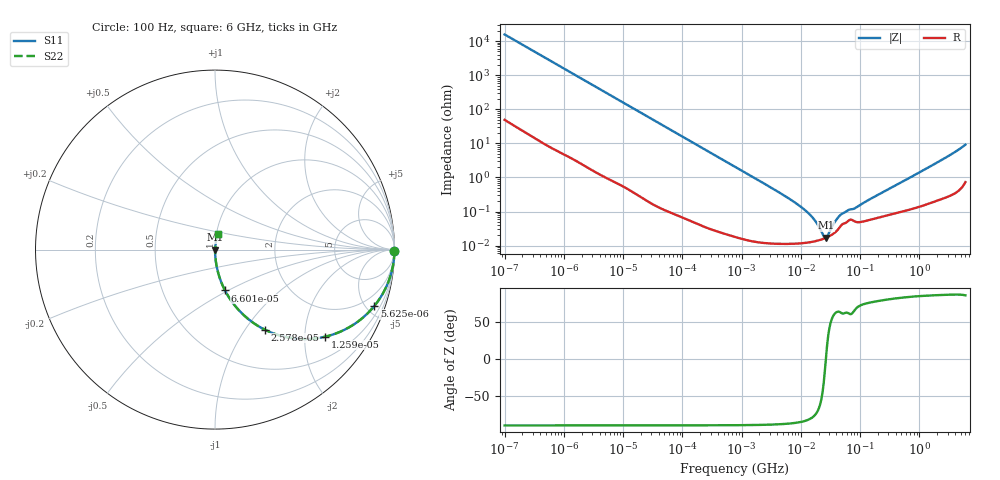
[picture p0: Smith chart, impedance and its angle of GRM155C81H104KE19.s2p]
!Murata Part Number: GRM155C81H104KE19
!These Parameters are Measured in Series Mode Connection
!Data Generated on Mar 30, 2021
!  o--ll--o
!Port1  Port2
!  o------o
!Operation Temp=25[degC], DC Bias Voltage=0[V]
!Freq. Start=100[Hz] Stop=6[GHz] 401[Steps]
# Hz S RI R 50
!Freq.(Hz) S11(Real) S11(Imag) S21(Real) S21(Imag) S12(Real) S12(Imag) S22(Real) S22(Imag)
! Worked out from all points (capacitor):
!   401 points, 100 Hz to 6 GHz, reference 50 ohm
!   read as one part in series: C = 101 nF near 109 Hz
!   lowest |Z| = 17 mohm at 26.62 MHz (marker M1)
!   series resonance near 26.49 MHz, so ESL is about 360 pH
!   S11 on the Smith chart (normalised r, x): 100 Hz: open; 5.625 kHz: 1.02, -5.64; 12.59 kHz: 1.01, -2.52; 25.78 kHz: 1.00, -1.23; 66 kHz: 1.00, -0.48; 6 GHz: 1.01, +0.18
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100  0.9999 -0.00635  6.02e-05 0.00635  6.02e-05 0.00635  0.9999 -0.00635
627  0.9983 -0.0396  0.00169 0.0396  0.00169 0.0396  0.9983 -0.0396
2008  0.9838 -0.1248  0.0162 0.1248  0.0162 0.1248  0.9838 -0.1248
5625  0.8874 -0.3145  0.1126 0.3145  0.1126 0.3145  0.8874 -0.3145
12592  0.6137 -0.4852  0.3863 0.4852  0.3863 0.4852  0.6137 -0.4852
25777  0.2764 -0.4456  0.7236 0.4456  0.7236 0.4456  0.2764 -0.4456
40335  0.1356 -0.3407  0.8644 0.3407  0.8644 0.3407  0.1356 -0.3407
66005  0.0558 -0.2277  0.9442 0.2277  0.9442 0.2277  0.0558 -0.2277
184852  0.00782 -0.0857  0.9922 0.0857  0.9922 0.0857  0.00782 -0.0857
774597  0.000607 -0.0207  0.9994 0.0207  0.9994 0.0207  0.000607 -0.0207
6644369  0.000118 -0.00227  0.9999 0.00227  0.9999 0.00227  0.000118 -0.00227
1.087309e7  0.00012 -0.00123  0.9999 0.00123  0.9999 0.00123  0.00012 -0.00123
1.555665e7  0.000129 -0.000675  0.9999 0.000675  0.9999 0.000675  0.000129 -0.000675
1.86079e7  0.000138 -0.000436  0.9999 0.000436  0.9999 0.000436  0.000138 -0.000436
2.434276e7  0.00016 -0.000102  0.9998 0.000102  0.9998 0.000102  0.00016 -0.000102
2.662322e7  0.00017 6.3e-06  0.9998 -6.3e-06  0.9998 -6.3e-06  0.00017 6.3e-06
2.911731e7  0.000183 0.000115  0.9998 -0.000115  0.9998 -0.000115  0.000183 0.000115
3.80911e7  0.000246 0.000452  0.9998 -0.000452  0.9998 -0.000452  0.000246 0.000452
4.764863e7  0.000386 0.000723  0.9996 -0.000723  0.9996 -0.000723  0.000386 0.000723
3.124326e8  0.000819 0.00459  0.9992 -0.00459  0.9992 -0.00459  0.000819 0.00459
2.34314e9  0.0033 0.0318  0.9967 -0.0318  0.9967 -0.0318  0.0033 0.0318
6e9  0.0153 0.0893  0.9847 -0.0893  0.9847 -0.0893  0.0153 0.0893
